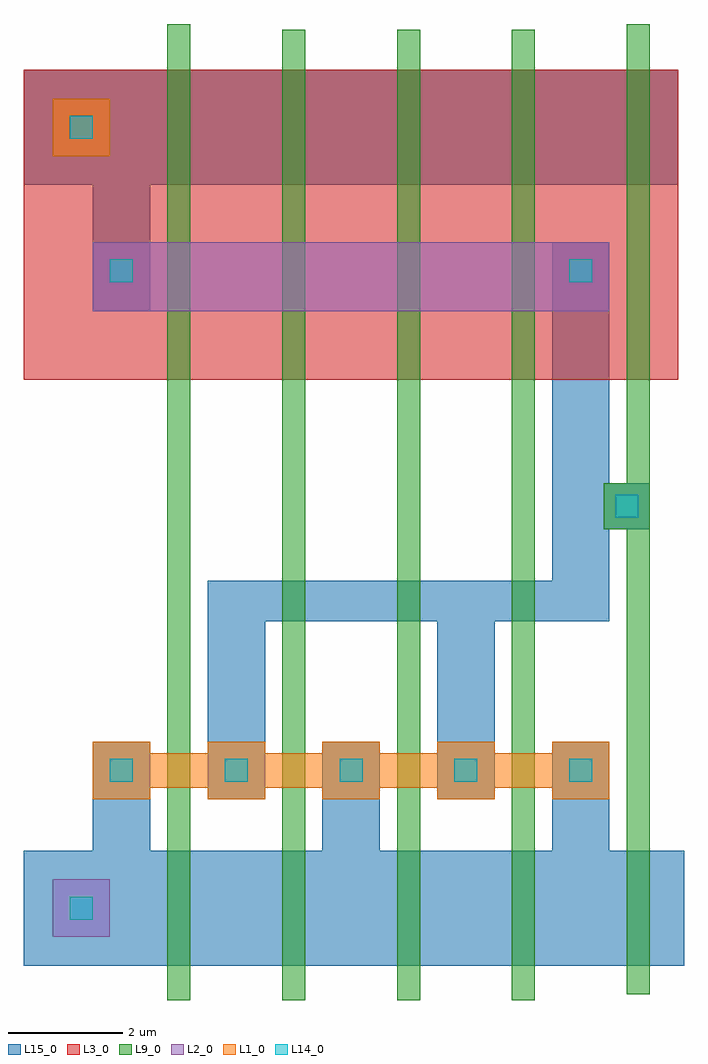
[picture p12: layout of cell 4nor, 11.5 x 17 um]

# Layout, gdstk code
import gdstk
lib = gdstk.Library(unit=1e-6, precision=1e-09)
def R(c, l, rs):  # rectangles x0, y0, x1, y1
    for r in rs: c.add(gdstk.rectangle(r[:2], r[2:], *l))
def A(c, l, x, y, w, h, nx, ny, dx, dy):  # array of equal rectangles
    R(c, l, [(x+i*dx, y+j*dy, x+i*dx+w, y+j*dy+h) for i in range(nx) for j in range(ny)])
def P(c, l, *ps):  # polygons
    for p in ps: c.add(gdstk.Polygon(p, *l))
L1_0 = (1, 0)
L2_0 = (2, 0)
L3_0 = (3, 0)
L9_0 = (9, 0)
L14_0 = (14, 0)
L15_0 = (15, 0)

c_4nor = lib.new_cell('4nor')
R(c_4nor, L1_0, [(-7.5,2.8,-6.5,3.8)])
P(c_4nor, L1_0, [(-6.8,-7.4),(-6.8,-8.4),(-5.8,-8.4),(-5.8,-8.2),(-4.8,-8.2),(-4.8,-8.4),(-3.8,-8.4),(-3.8,-8.2),(-2.8,-8.2),(-2.8,-8.4),(-1.8,-8.4),(-1.8,-8.2),(-0.8,-8.2),(-0.8,-8.4),(0.2,-8.4),(0.2,-8.2),(1.2,-8.2),(1.2,-8.4),(2.2,-8.4),(2.2,-7.4),(1.2,-7.4),(1.2,-7.6),(0.2,-7.6),(0.2,-7.4),(-0.8,-7.4),(-0.8,-7.6),(-1.8,-7.6),(-1.8,-7.4),(-2.8,-7.4),(-2.8,-7.6),(-3.8,-7.6),(-3.8,-7.4),(-4.8,-7.4),(-4.8,-7.6),(-5.8,-7.6),(-5.8,-7.4)])
R(c_4nor, L2_0, [(-7.5,-10.8,-6.5,-9.8), (-6.8,0.1,2.2,1.3)])
R(c_4nor, L3_0, [(-8,-1.1,3.4,4.3)])
A(c_4nor, L9_0, -3.5, -11.9, 0.4, 16.9, 3, 1, 2, 0)
R(c_4nor, L9_0, [(-5.5,-11.9,-5.1,5.1)])
P(c_4nor, L9_0, [(2.9,5.1),(2.5,5.1),(2.5,-2.9),(2.1,-2.9),(2.1,-3.7),(2.5,-3.7),(2.5,-11.8),(2.9,-11.8)])
A(c_4nor, L14_0, -6.5, -8.1, 0.4, 0.4, 5, 1, 2, 0)
R(c_4nor, L14_0, [(-7.2,-10.5,-6.8,-10.1), (2.3,-3.5,2.7,-3.1), (-6.5,0.6,-6.1,1), (1.5,0.6,1.9,1), (-7.2,3.1,-6.8,3.5)])
P(c_4nor, L15_0, [(-5.8,2.3),(3.4,2.3),(3.4,4.3),(-8,4.3),(-8,2.3),(-6.8,2.3),(-6.8,0.1),(-5.8,0.1)],
  [(-4.8,-8.4),(-3.8,-8.4),(-3.8,-5.3),(-0.8,-5.3),(-0.8,-8.4),(0.2,-8.4),(0.2,-5.3),(2.2,-5.3),(2.2,-3.7),(2.9,-3.7),(2.9,-2.9),(2.2,-2.9),(2.2,1.3),(1.2,1.3),(1.2,-4.6),(-4.8,-4.6)],
  [(2.2,-9.3),(2.2,-7.4),(1.2,-7.4),(1.2,-9.3),(-1.8,-9.3),(-1.8,-7.4),(-2.8,-7.4),(-2.8,-9.3),(-5.8,-9.3),(-5.8,-7.4),(-6.8,-7.4),(-6.8,-9.3),(-8,-9.3),(-8,-11.3),(3.5,-11.3),(3.5,-9.3)])

lib.write_gds('4nor.gds')
